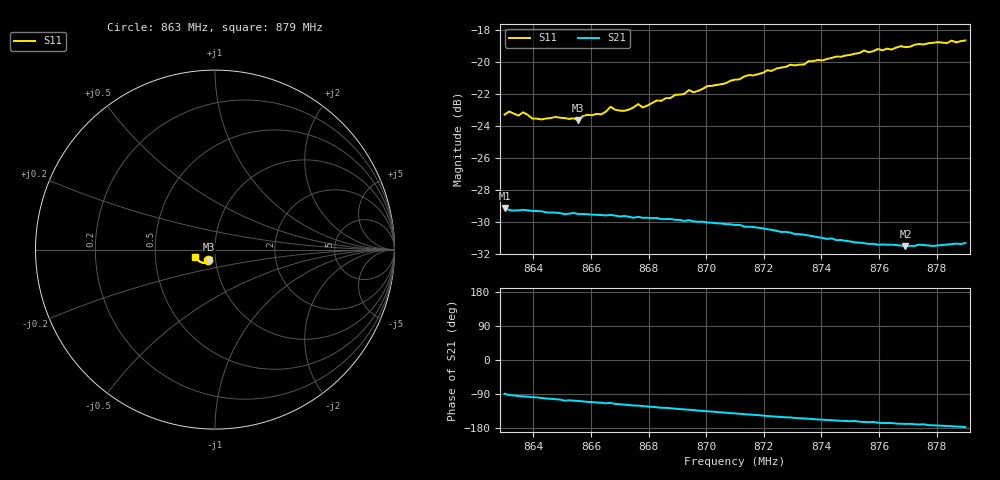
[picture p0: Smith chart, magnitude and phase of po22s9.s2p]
# HZ S RI R 50
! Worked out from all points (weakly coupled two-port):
!   101 points, 863 MHz to 879 MHz, reference 50 ohm
!   highest |S21| = -29.15 dB at 863 MHz (marker M1); lowest = -31.5 dB at 876.92 MHz (marker M2)
!   lowest |S11| = -23.7 dB at 865.56 MHz (marker M3), VSWR 1.14, Z = 46.4 - j5.19 ohm
!   |S11| at or under -10 dB: start of sweep to end of sweep
!   S12 and S22 are empty: the file has one direction only
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8.63e8  -0.0402 -0.0553  0.000653 -0.0349  0 0  0 0
8.6316e8  -0.0442 -0.0541  -0.00159 -0.0344  0 0  0 0
8.6348e8  -0.0415 -0.0538  -0.0031 -0.0342  0 0  0 0
8.6364e8  -0.0425 -0.0549  -0.00361 -0.0342  0 0  0 0
8.6396e8  -0.0393 -0.0536  -0.00495 -0.0338  0 0  0 0
8.6476e8  -0.0372 -0.056  -0.00789 -0.0328  0 0  0 0
8.6556e8  -0.0346 -0.0557  -0.0104 -0.0317  0 0  0 0
8.6572e8  -0.0356 -0.0576  -0.011 -0.0316  0 0  0 0
8.6636e8  -0.0352 -0.0588  -0.0129 -0.0306  0 0  0 0
8.6668e8  -0.0371 -0.062  -0.013 -0.0306  0 0  0 0
8.6716e8  -0.0341 -0.0614  -0.0153 -0.0292  0 0  0 0
8.6764e8  -0.0368 -0.0638  -0.0166 -0.0283  0 0  0 0
8.678e8  -0.0357 -0.0625  -0.0171 -0.0277  0 0  0 0
8.6844e8  -0.0371 -0.0658  -0.0189 -0.026  0 0  0 0
8.694e8  -0.0414 -0.0703  -0.0211 -0.0241  0 0  0 0
8.6956e8  -0.0404 -0.0693  -0.0213 -0.0235  0 0  0 0
8.71e8  -0.0485 -0.0733  -0.0239 -0.0195  0 0  0 0
8.7372e8  -0.0678 -0.0742  -0.026 -0.0116  0 0  0 0
8.7548e8  -0.0851 -0.0671  -0.026 -0.00769  0 0  0 0
8.7644e8  -0.0901 -0.0618  -0.026 -0.00633  0 0  0 0
8.7692e8  -0.0957 -0.0564  -0.026 -0.00519  0 0  0 0
8.79e8  -0.1099 -0.0391  -0.0271 -0.00141  0 0  0 0
